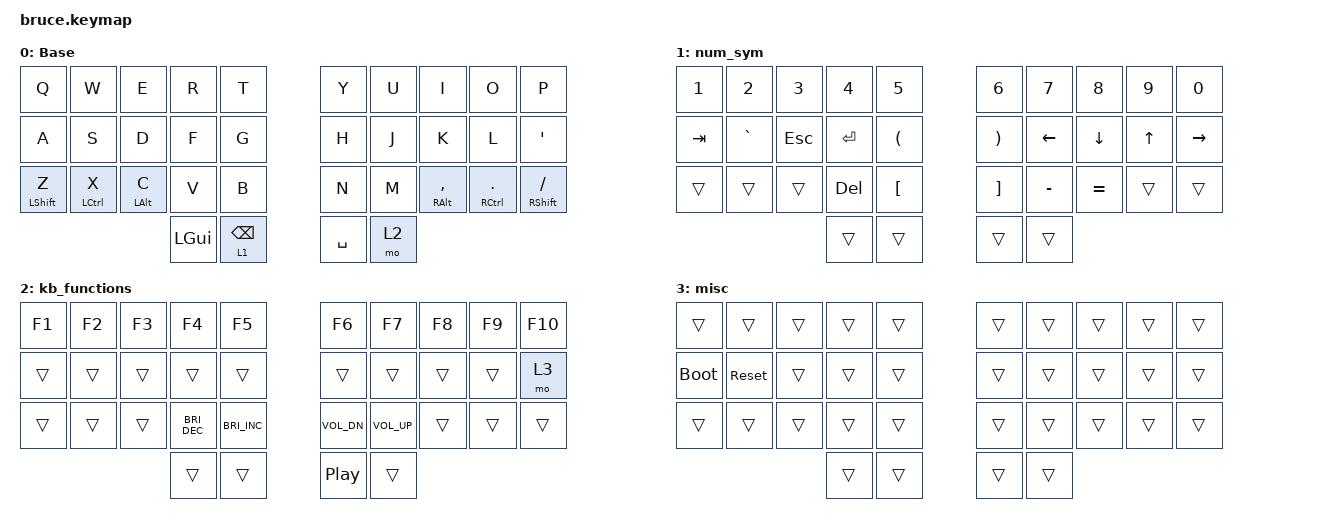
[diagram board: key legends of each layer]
/*
 * Copyright (c) 2023 The ZMK Contributors
 *
 * SPDX-License-Identifier: MIT
 */

#include <behaviors.dtsi>
#include <dt-bindings/zmk/keys.h>

/ {
    behaviors {
        hm: homerow_mods {
            compatible = "zmk,behavior-hold-tap";
            #binding-cells = <2>;
            tapping-term-ms = <150>;
            quick-tap-ms = <0>;
            require-prior-idle-ms = <100>;
            flavor = "tap-preferred";
            bindings = <&kp>, <&kp>;
        };
    };

    combos {
        compatible = "zmk,combos";

        Dash {
            bindings = <&kp MINUS>;
            key-positions = <27 28>;
            require-prior-idle-ms = <100>;
            layers = <0 1>;
        };

        Underscore {
            bindings = <&kp UNDERSCORE>;
            key-positions = <27 28 29>;
            require-prior-idle-ms = <100>;
            layers = <0 1>;
        };

        Plus {
            bindings = <&kp PLUS>;
            key-positions = <27 29>;
            require-prior-idle-ms = <100>;
            layers = <0 1>;
        };

        Equals {
            bindings = <&kp KP_EQUAL>;
            key-positions = <28 29>;
            require-prior-idle-ms = <100>;
            layers = <0 1>;
        };

        Semicolon {
            bindings = <&kp SEMICOLON>;
            key-positions = <19 27>;
            require-prior-idle-ms = <100>;
            layers = <0 1>;
        };

        Colon {
            bindings = <&kp COLON>;
            key-positions = <19 28>;
            require-prior-idle-ms = <100>;
            layers = <0 1>;
        };

        Mute {
            bindings = <&kp C_MUTE>;
            key-positions = <25 26>;
            layers = <2>;
            require-prior-idle-ms = <100>;
        };
    };

    keymap {
        compatible = "zmk,keymap";

        base {
            display-name = "Base";
            bindings = <
  &kp Q        &kp W        &kp E       &kp R       &kp T  &kp Y  &kp U      &kp I           &kp O          &kp P
  &kp A        &kp S        &kp D       &kp F       &kp G  &kp H  &kp J      &kp K           &kp L          &kp SINGLE_QUOTE
  &mt LSHFT Z  &hm LCTRL X  &hm LALT C  &kp V       &kp B  &kp N  &kp M      &hm RALT COMMA  &hm RCTRL DOT  &mt RSHFT SLASH
                            &kp LGUI    &lt 1 BSPC                &kp SPACE  &mo 2
            >;
        };

        num_sym {
            bindings = <
  &kp N1   &kp N2     &kp N3      &kp N4      &kp N5                &kp N6                 &kp N7     &kp N8     &kp N9        &kp N0
  &kp TAB  &kp GRAVE  &kp ESCAPE  &kp RETURN  &kp LEFT_PARENTHESIS  &kp RIGHT_PARENTHESIS  &kp LEFT   &kp DOWN   &kp UP_ARROW  &kp RIGHT
  &trans   &trans     &trans      &kp DELETE  &kp LEFT_BRACKET      &kp RIGHT_BRACKET      &kp MINUS  &kp EQUAL  &trans        &trans
                      &trans      &trans                                                   &trans     &trans
            >;
        };

        kb_functions {
            bindings = <
  &kp F1  &kp F2  &kp F3  &kp F4                &kp F5                &kp F6        &kp F7            &kp F8  &kp F9  &kp F10
  &trans  &trans  &trans  &trans                &trans                &trans        &trans            &trans  &trans  &mo 3
  &trans  &trans  &trans  &kp C_BRIGHTNESS_DEC  &kp C_BRIGHTNESS_INC  &kp C_VOL_DN  &kp C_VOLUME_UP   &trans  &trans  &trans
                  &trans  &trans                                                    &kp C_PLAY_PAUSE  &trans
            >;
        };

        misc {
            bindings = <
  &trans       &trans      &trans  &trans  &trans  &trans  &trans  &trans  &trans  &trans
  &bootloader  &sys_reset  &trans  &trans  &trans  &trans  &trans  &trans  &trans  &trans
  &trans       &trans      &trans  &trans  &trans  &trans  &trans  &trans  &trans  &trans
                           &trans  &trans                  &trans  &trans
            >;
        };
    };
};
